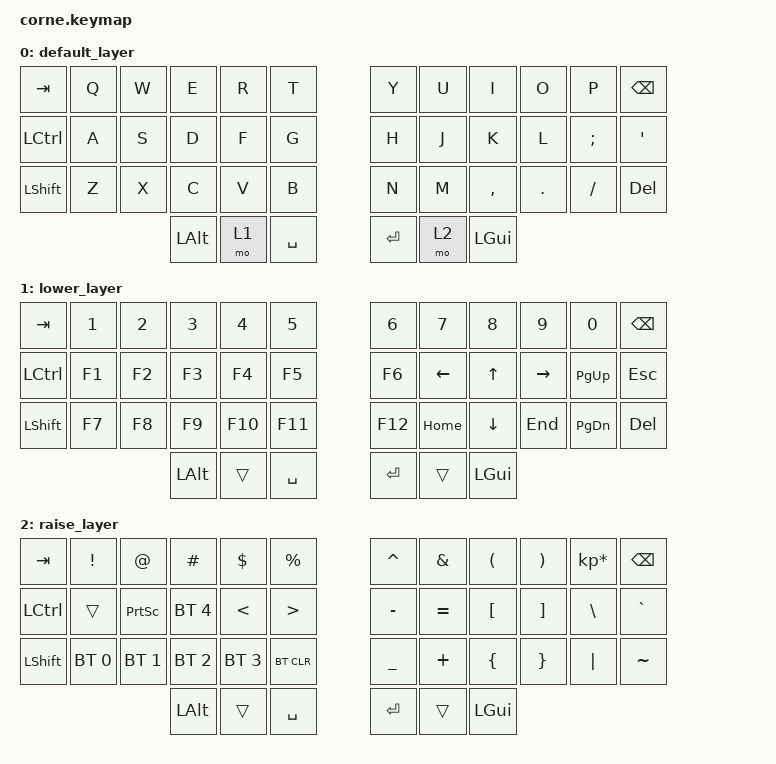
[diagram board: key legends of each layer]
/*
 * Copyright (c) 2020 The ZMK Contributors
 *
 * SPDX-License-Identifier: MIT
 */

#include <behaviors.dtsi>
#include <dt-bindings/zmk/keys.h>
#include <dt-bindings/zmk/bt.h>

/ {
        keymap {
                compatible = "zmk,keymap";

                default_layer {
// -----------------------------------------------------------------------------------------
// |  TAB |  Q  |  W  |  E  |  R  |  T  |   |  Y  |  U   |  I  |  O  |  P  | BKSP |
// | CTRL |  A  |  S  |  D  |  F  |  G  |   |  H  |  J   |  K  |  L  |  ;  |  '   |
// | SHFT |  Z  |  X  |  C  |  V  |  B  |   |  N  |  M   |  ,  |  .  |  /  | DEL  |
//                    | ALT | LWR | SPC |   | ENT | RSE  | GUI |
                        bindings = <
   &kp TAB   &kp Q &kp W &kp E &kp R &kp T   &kp Y &kp U  &kp I     &kp O   &kp P    &kp BSPC
   &kp LCTRL &kp A &kp S &kp D &kp F &kp G   &kp H &kp J  &kp K     &kp L   &kp SEMI &kp SQT
   &kp LSHFT &kp Z &kp X &kp C &kp V &kp B   &kp N &kp M  &kp COMMA &kp DOT &kp FSLH &kp DEL
                  &kp LALT &mo 1 &kp SPACE   &kp RET &mo 2 &kp LGUI
                        >;
                };
                lower_layer {
// -----------------------------------------------------------------------------------------
// |  TAB |  1  |  2  |  3  |  4  |  5    |   |  6  |  7   |  8   |  9   |  0   | BKSP |
// | CTRL | F1  | F2  | F3  | F4  | F5    |   | F6  | LEFT | UP   | RGHT | PGUP | ESC  |
// | SHFT | F7  | F8  | F9  | F10 | F11   |   | F12 | HOME | DOWN | END  | PGDN | DEL  |
//                    | ALT |     | SPC   |   | ENT |      | GUI  |
                        bindings = <
   &kp TAB    &kp N1 &kp N2 &kp N3   &kp N4  &kp N5      &kp N6  &kp N7   &kp N8   &kp N9    &kp N0    &kp BSPC
   &kp LCTRL  &kp F1 &kp F2 &kp F3   &kp F4  &kp F5      &kp F6  &kp LEFT &kp UP   &kp RIGHT &kp PG_UP &kp ESC
   &kp LSHFT  &kp F7 &kp F8 &kp F9   &kp F10 &kp F11     &kp F12 &kp HOME &kp DOWN &kp END   &kp PG_DN &kp DEL
                            &kp LALT &trans  &kp SPACE   &kp RET &trans   &kp LGUI
                        >;
                };

                raise_layer {
// -----------------------------------------------------------------------------------------
// |  TAB |  !  |  @    |  #  |  $  |  %    |   |  ^  |  &  |  (  |  )  |  *  | BKSP |
// | CTRL |     | PSCRN | BT5 |  <  |  >    |   |  -  |  =  |  [  |  ]  |  \  |  `   |
// | SHFT | BT1 | BT2   | BT3 | BT4 | BTCLR |   |  _  |  +  |  {  |  }  | "|" |  ~   |
//                      | ALT |     | SPC   |   | ENT |     | GUI |
                        bindings = <
   &kp  TAB  &kp EXCL     &kp AT       &kp HASH     &kp DLLR     &kp PRCNT    &kp CARET &kp AMPS  &kp LPAR &kp RPAR &kp KP_MULTIPLY &kp BSPC
   &kp LCTRL &trans       &kp PSCRN    &bt BT_SEL 4 &kp LT       &kp GT       &kp MINUS &kp EQUAL &kp LBKT &kp RBKT &kp BSLH        &kp GRAVE
   &kp LSHFT &bt BT_SEL 0 &bt BT_SEL 1 &bt BT_SEL 2 &bt BT_SEL 3 &bt BT_CLR   &kp UNDER &kp PLUS  &kp LBRC &kp RBRC &kp PIPE        &kp TILDE
                    	               &kp LALT     &trans       &kp SPACE    &kp RET   &trans    &kp LGUI
                        >;
                };
        };
};
